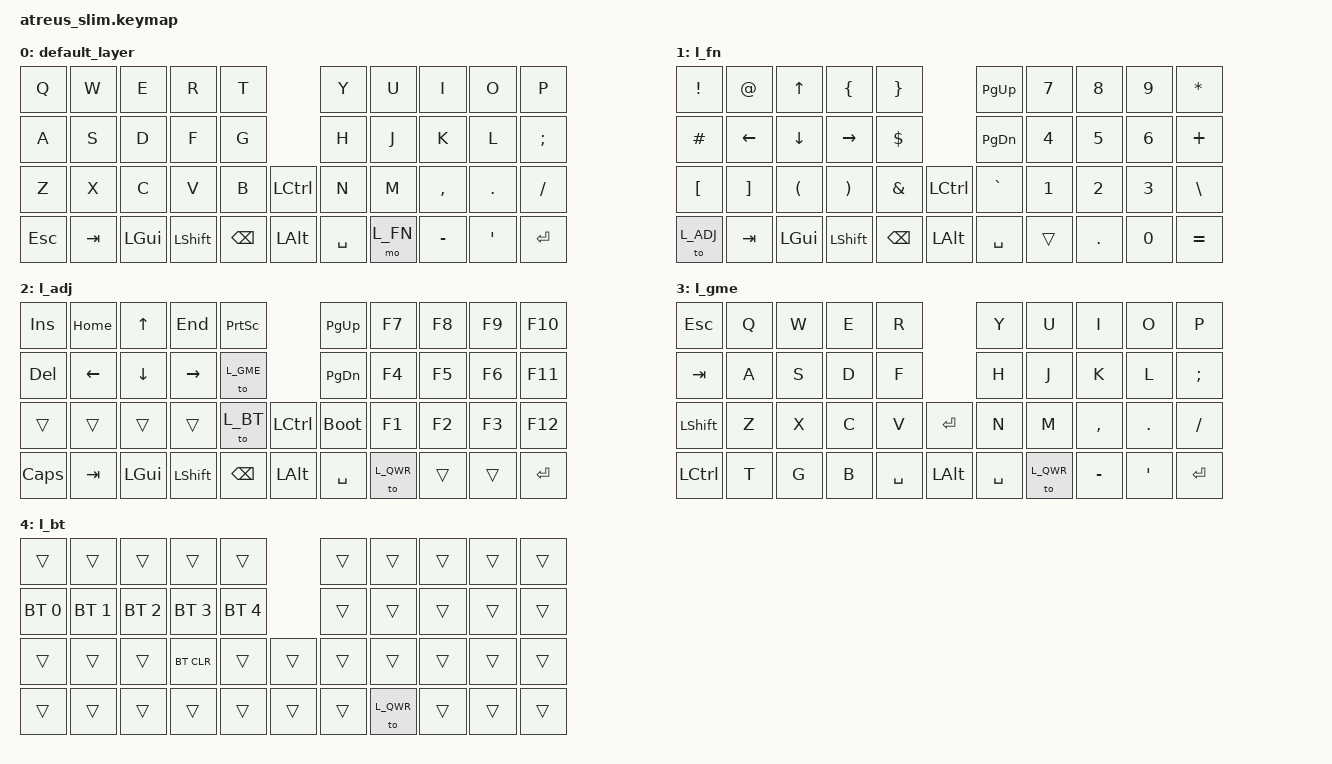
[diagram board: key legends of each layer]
#include <behaviors.dtsi>
#include <dt-bindings/zmk/keys.h>
#include <dt-bindings/zmk/bt.h>

#define L_QWR  0
#define L_FN   1
#define L_ADJ  2
#define L_GME  3
#define L_BT   4

/ {
    keymap {
        compatible = "zmk,keymap";

        default_layer { // Main QWERTY layer

		// ---------------------------------------------------------------------ctrl is left thumb key, alt is right
		// |  Q  |  W  |  E  |  R  |  T  |     |  Y  |  U  |  I  |  O  |  P  |
		// |  A  |  S  |  D  |  F  |  G  |     |  H  |  J  |  K  |  L  |  ;  |
		// |  Z  |  X  |  C  |  V  |  B  | CTRL|  N  |  M  |  ,  |  .  |  /  |
		// | ESC | TAB | GUI | SHFT| BSPC| ALT | SPC | FN  |  -  |  '  | ENT |

            bindings = <
			
			    &kp Q     &kp W     &kp E     &kp R     &kp T               &kp Y     &kp U     &kp I     &kp O     &kp P
				&kp A     &kp S     &kp D     &kp F     &kp G               &kp H     &kp J     &kp K     &kp L     &kp SEMI
				&kp Z     &kp X     &kp C     &kp V     &kp B     &kp LCTRL &kp N     &kp M     &kp COMMA &kp DOT   &kp FSLH 
				&kp ESC   &kp TAB   &kp LGUI  &kp LSHFT &kp BSPC  &kp LALT  &kp SPACE &mo L_FN  &kp MINUS &kp SQT   &kp ENTER
    
            >;
        };

        l_fn { // FN layer with numbers and arrows
		
		// ---------------------------------------------------------------------ctrl is left thumb key, alt is right
		// |  !  |  @  |  UP |  {  |  }  |     | PGUP|  7  |  8  |  9  |  *  |
		// |  #  | LEFT| DOWN|RIGHT|  $  |     | PGDN|  4  |  5  |  6  |  +  |
		// |  [  |  ]  |  (  |  )  |  &  | CTRL|  `  |  1  |  2  |  3  |  \  |
		// | ADJ | TAB | GUI | SHFT| BSPC| ALT | SPC | FN  |  .  |  0  |  =  |
		
            bindings = <

				&kp EXCL  &kp AT    &kp UP    &kp LBRC  &kp RBRC            &kp PG_UP &kp N7    &kp N8    &kp N9    &kp STAR
				&kp HASH  &kp LEFT  &kp DOWN  &kp RIGHT &kp DLLR            &kp PG_DN &kp N4    &kp N5    &kp N6    &kp PLUS
				&kp LBKT  &kp RBKT  &kp LPAR  &kp RPAR  &kp AMPS  &kp LCTRL &kp GRAVE &kp N1    &kp N2    &kp N3    &kp BSLH 
				&to L_ADJ &kp TAB   &kp LGUI  &kp LSHFT &kp BSPC  &kp LALT  &kp SPACE &trans    &kp DOT   &kp N0    &kp EQUAL

            >;
        };

        l_adj { // ADJ layer with Fkeys etc
		
		// ---------------------------------------------------------------------ctrl is left thumb key, alt is right
		// |INSRT| HOME|  UP | END |PSCRN|     | PGUP| F7  | F8  | F9  | F10 |
		// | DEL | LEFT| DOWN|RIGHT| GME |     | PGDN| F4  | F5  | F6  | F11 |
		// |     |     |     |     | BT  | CTRL|RESET| F1  | F2  | F3  | F12 |
		// |CAPSL| TAB | GUI | SHFT| BSPC| ALT | SPC | QWR |     |     |ENTER|
		
            bindings = <
			
				&kp INS   &kp HOME  &kp UP    &kp END   &kp PSCRN           &kp PG_UP   &kp F7    &kp F8    &kp F9    &kp F10
				&kp DEL   &kp LEFT  &kp DOWN  &kp RIGHT &to L_GME           &kp PG_DN   &kp F4    &kp F5    &kp F6    &kp F11
				&trans    &trans    &trans    &trans    &to L_BT  &kp LCTRL &bootloader &kp F1    &kp F2    &kp F3    &kp F12 
				&kp CAPS  &kp TAB   &kp LGUI  &kp LSHFT &kp BSPC  &kp LALT  &kp SPACE   &to L_QWR &trans    &trans    &kp ENTER

            >;
        };
		
		l_gme { // GAMING layer whith WASD shifted over and modifers are on the left hand side (right half unchanged)
		
		// ---------------------------------------------------------------------top enter is left thumb key, alt is right
		// | ESC |  Q  |  W  |  E  |  R  |     |  Y  |  U  |  I  |  O  |  P  |
		// | TAB |  A  |  S  |  D  |  F  |     |  H  |  J  |  K  |  L  |  ;  |
		// | LSFT|  Z  |  X  |  C  |  V  |ENTER|  N  |  M  |  ,  |  .  |  /  |
		// | LCTL|  T  |  G  |  B  | SPC | ALT | SPC | QWR |  -  |  '  | ENT |
		
            bindings = <
			
				&kp ESC   &kp Q     &kp W     &kp E     &kp R               &kp Y     &kp U     &kp I     &kp O     &kp P
				&kp TAB   &kp A     &kp S     &kp D     &kp F               &kp H     &kp J     &kp K     &kp L     &kp SEMI
				&kp LSHFT &kp Z     &kp X     &kp C     &kp V     &kp ENTER &kp N     &kp M     &kp COMMA &kp DOT   &kp FSLH 
				&kp LCTRL &kp T     &kp G     &kp B     &kp SPACE &kp LALT  &kp SPACE &to L_QWR &kp MINUS &kp SQT   &kp ENTER

            >;
        };
		
		l_bt { // Bluetooth Controls Layer
		
		// ---------------------------------------------------------------------top enter is left thumb key, alt is right
		// |     |     |     |     |     |         |     |     |     |     |     |
		// | BT0 | BT1 | BT2 | BT3 | BT4 |         |     |     |     |     |     |
		// |     |     |     |BTCLR|     |         |     |     |     |     |     |
		// |     |     |     |     |     |         |     | QWR |     |     |     |
		
            bindings = <
			
				&trans       &trans       &trans       &trans       &trans              &trans &trans    &trans &trans &trans
				&bt BT_SEL 0 &bt BT_SEL 1 &bt BT_SEL 2 &bt BT_SEL 3 &bt BT_SEL 4        &trans &trans    &trans &trans &trans
				&trans       &trans       &trans       &bt BT_CLR   &trans       &trans &trans &trans    &trans &trans &trans 
				&trans       &trans       &trans       &trans       &trans       &trans &trans &to L_QWR &trans &trans &trans

            >;
        };
    };
};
